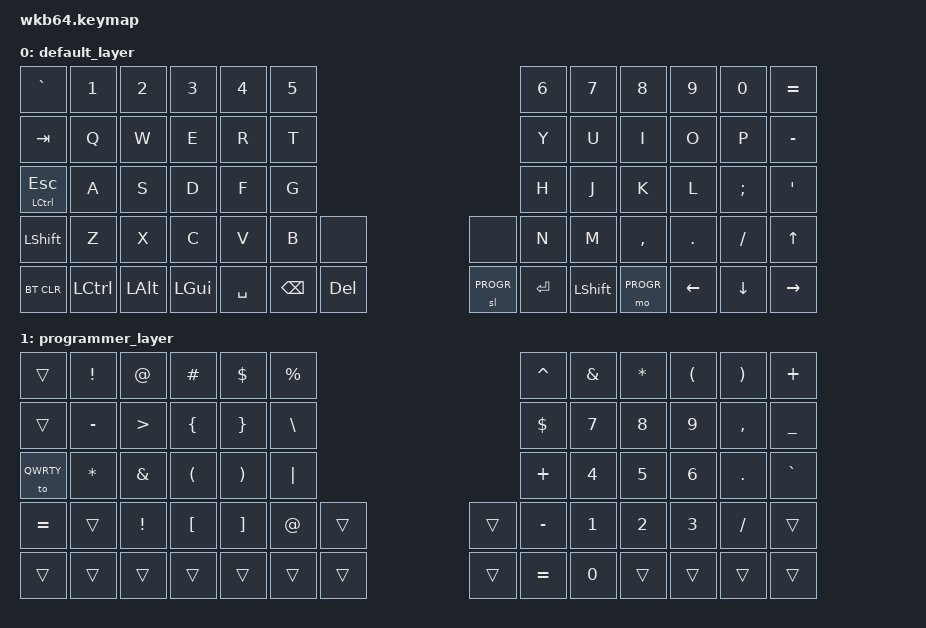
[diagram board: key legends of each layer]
#include <behaviors.dtsi>
#include <dt-bindings/zmk/keys.h>
#include <dt-bindings/zmk/bt.h>
#include <dt-bindings/zmk/ext_power.h>

#define QWRTY 0
#define PROGR 1

/*
Docs of behaviors:
https://zmk.dev/docs/behaviors/layers

Source code of behaviors:
https://github.com/zmkfirmware/zmk/tree/fadb50867147c935b912b2afbfebd9734ef00ccb/app/dts/behaviors

Key codes:
https://zmk.dev/docs/codes/
*/

/ {
    keymap {
        compatible = "zmk,keymap";

        default_layer {
// --------------------------------------------------------------------------------------------------------------------------------------------------------------------
// |    `    |    1    |    2    |    3    |    4    |    5    |                                          |    6    |    7    |    8    |    9    |    0    |    \    |
// |   TAB   |    Q    |    W    |    P    |    D    |    F    |                                          |    Y    |    U    |    L    |    K    |    ;    |    -    |
// |   ESC   |    A    |    S    |    T    |    R    |    G    |                                          |    H    |    N    |    E    |    I    |    O    |    '    |
// |  SHIFT  |    Z    |    X    |    C    |    V    |    B    |   none  |         |  |         |  none   |    J    |    M    |    ,    |    .    |    /    |    UP   |
// |   DOT   |   CTRL  |   OPT   |         |   GUI   |  SPACE  |   BSPC  |   none  |  |   none  |  ENTER  |  SHIFT  |  PROGR  |                   |   LEFT  |   DOWN  |  RIGHT  |
            bindings = <
    &kp GRAVE &kp N1    &kp N2    &kp N3    &kp N4    &kp N5                                               &kp N6    &kp N7    &kp N8    &kp N9    &kp N0    &kp EQUAL
    &kp TAB   &kp Q     &kp W     &kp E     &kp R     &kp T                                                &kp Y     &kp U     &kp I     &kp O     &kp P     &kp MINUS
&mt LCTRL ESC &kp A     &kp S     &kp D     &kp F     &kp G                                                &kp H     &kp J     &kp K     &kp L     &kp SEMI  &kp SQT
    &kp LSHFT &kp Z     &kp X     &kp C     &kp V     &kp B     &none                            &none     &kp N     &kp M     &kp COMMA &kp DOT   &kp FSLH  &kp UP
    &bt BT_CLR &kp LCTRL &kp LALT           &kp LGUI  &kp SPACE &kp BSPC  &kp DEL      &sl PROGR &kp ENTER &kp LSHFT &mo PROGR                     &kp LEFT  &kp DOWN  &kp RIGHT
            >;
        };

        programmer_layer {
// --------------------------------------------------------------------------------------------------------------------------------------------------------------------
// |    `    |    !    |    @    |    #    |    $    |    %    |                                          |    ^    |    &    |    *    |    (    |    )    |    +    |
// |   TAB   |    -    |    >    |    {    |    }    |    \    |                                          |    $    |    7    |    8    |    9    |    ,    |    _    |
// |   L0    |    *    |    &    |    (    |    )    |    |    |                                          |    +    |    4    |    5    |    6    |    .    |    `    |
// |  EQUAL  |    z    |    !    |    [    |    ]    |    @    |   none  |         |  |         |   none  |    -    |    1    |    2    |    3    |    /    |    UP   |
// |   none  |   CTRL  |   OPT   |         |   GUI   |  SPACE  |   BSPC  |   DOT   |  |   DOT   |    =    |    0    |   L0    |                   |   LEFT  |   DOWN  |  RIGHT  |
            bindings = <
    &trans    &kp EXCL  &kp AT    &kp HASH  &kp DLLR  &kp PRCNT                                            &kp CARET &kp AMPS  &kp STAR  &kp LPAR  &kp RPAR  &kp PLUS
    &trans    &kp MINUS &kp GT    &kp LBRC  &kp RBRC  &kp BSLH                                             &kp DLLR  &kp N7    &kp N8    &kp N9    &kp COMMA &kp UNDER
    &to QWRTY &kp STAR  &kp AMPS  &kp LPAR  &kp RPAR  &kp PIPE                                             &kp PLUS  &kp N4    &kp N5    &kp N6    &kp DOT   &kp GRAVE
    &kp EQUAL &trans    &kp EXCL  &kp LBKT  &kp RBKT  &kp AT    &trans                           &trans    &kp MINUS &kp N1    &kp N2    &kp N3    &kp FSLH  &trans
    &trans    &trans    &trans              &trans    &trans    &trans    &trans       &trans    &kp EQUAL &kp N0    &trans                        &trans    &trans     &trans
            >;
        };
    };
};

